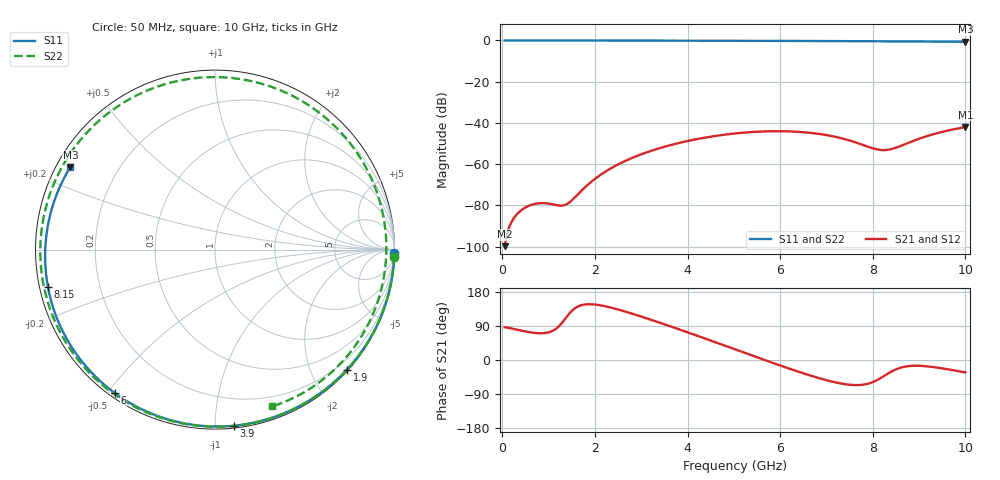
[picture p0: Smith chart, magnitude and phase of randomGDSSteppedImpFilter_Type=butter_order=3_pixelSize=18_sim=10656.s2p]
! freq	dB(S11)	phase(S11)	dB(S12)	phase(S12)
!  dB(S21)	phase(S21)	dB(S22)	phase(S22)
!S-par simulation data
#  GHz  S  DB  R 50
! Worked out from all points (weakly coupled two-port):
!   200 points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, 50 MHz to 10 GHz, reference 50 ohm
!   highest |S21| = -42.01 dB at 10 GHz (marker M1); lowest = -99.8 dB at 50 MHz (marker M2)
!   lowest |S11| = -0.6 dB at 10 GHz (marker M3), VSWR 26.88, Z = 1.99 + j13.3 ohm
!   |S11| at or under -10 dB: nowhere
!   |S22| runs from -0.6 to 0.0 dB; largest |S21 - S12| = 0
!   S11 on the Smith chart (normalised r, x): 50 MHz: open; 1.9 GHz: 0.02, -2.59; 3.9 GHz: 0.01, -1.11; 6 GHz: 0.02, -0.52; 8.15 GHz: 0.02, -0.11; 10 GHz: 0.04, +0.27
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0.05  -0.00 -1.2  -99.80 86.2  -99.80 86.2  -0.01 -2.2
0.65  -0.02 -14.7  -79.60 72.2  -79.60 72.2  -0.03 -28.4
0.9  -0.02 -20.3  -78.92 70.9  -78.92 70.9  -0.05 -39.1
1.35  -0.04 -30.3  -79.84 107.5  -79.84 107.5  -0.07 -58.3
1.75  -0.05 -39.0  -72.01 145.9  -72.01 145.9  -0.10 -75.2
1.9  -0.05 -42.3  -68.98 147.2  -68.98 147.2  -0.10 -81.5
2.2  -0.06 -48.8  -64.02 142.4  -64.02 142.4  -0.12 -94.0
2.6  -0.07 -57.3  -59.04 129.8  -59.04 129.8  -0.14 -110.6
3.4  -0.10 -73.9  -52.24 98.4  -52.24 98.4  -0.18 -143.9
3.9  -0.12 -84.0  -49.29 77.3  -49.29 77.3  -0.21 -165.1
4.5  -0.14 -95.9  -46.68 51.4  -46.68 51.4  -0.25 168.5
5.05  -0.17 -106.6  -45.06 27.1  -45.06 27.1  -0.29 143.2
5.55  -0.19 -116.3  -44.23 5.1  -44.23 5.1  -0.32 119.3
6  -0.22 -125.0  -44.03 -14.4  -44.03 -14.4  -0.34 97.2
6.35  -0.25 -131.7  -44.28 -29.1  -44.28 -29.1  -0.35 79.8
6.7  -0.27 -138.5  -44.94 -42.8  -44.94 -42.8  -0.36 62.6
7.1  -0.31 -146.3  -46.32 -56.4  -46.32 -56.4  -0.37 43.2
7.45  -0.34 -153.2  -48.21 -64.6  -48.21 -64.6  -0.38 26.8
8.15  -0.41 -167.5  -53.07 -49.2  -53.07 -49.2  -0.41 -3.8
8.35  -0.43 -171.7  -52.96 -34.2  -52.96 -34.2  -0.42 -12.0
9.2  -0.54 169.5  -46.19 -17.1  -46.19 -17.1  -0.50 -43.8
10  -0.65 150.2  -42.01 -32.8  -42.01 -32.8  -0.63 -70.0
